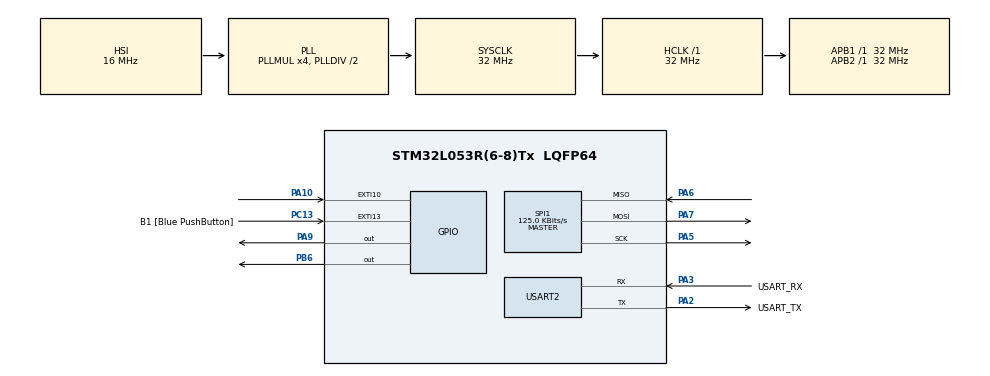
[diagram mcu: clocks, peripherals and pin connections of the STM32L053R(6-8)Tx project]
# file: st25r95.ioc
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Mcu.Family=STM32L0
Mcu.Name=STM32L053R(6-8)Tx
Mcu.Package=LQFP64
NVIC.EXTI4_15_IRQn=true\:0\:0\:false\:false\:true\:true\:true\:true
PA10.GPIO_ModeDefaultEXTI=GPIO_MODE_IT_FALLING
PA10.GPIO_PuPd=GPIO_PULLUP
PA10.Signal=GPXTI10
PA13.GPIO_Label=TMS
PA13.Mode=Serial_Wire
PA13.Signal=SYS_SWDIO
PA14.GPIO_Label=TCK
PA14.Mode=Serial_Wire
PA14.Signal=SYS_SWCLK
PA2.GPIO_Label=USART_TX
PA2.Mode=Asynchronous
PA2.Signal=USART2_TX
PA3.GPIO_Label=USART_RX
PA3.Mode=Asynchronous
PA3.Signal=USART2_RX
PA5.Mode=Full_Duplex_Master
PA5.Signal=SPI1_SCK
PA6.Mode=Full_Duplex_Master
PA6.Signal=SPI1_MISO
PA7.Mode=Full_Duplex_Master
PA7.Signal=SPI1_MOSI
PA9.Signal=GPIO_Output
PB6.Signal=GPIO_Output
PC13.GPIO_Label=B1 [Blue PushButton]
PC13.GPIO_ModeDefaultEXTI=GPIO_MODE_IT_FALLING
PC13.Signal=GPXTI13
PC14-OSC32_IN.Mode=LSE-External-Oscillator
PC14-OSC32_IN.Signal=RCC_OSC32_IN
PC15-OSC32_OUT.Mode=LSE-External-Oscillator
PC15-OSC32_OUT.Signal=RCC_OSC32_OUT
PH0-OSC_IN.Mode=HSE-External-Clock-Source
PH0-OSC_IN.Signal=RCC_OSC_IN
PH1-OSC_OUT.Signal=RCC_OSC_OUT
ProjectManager.HeapSize=0x200
ProjectManager.StackSize=0x400
ProjectManager.TargetToolchain=STM32CubeIDE
RCC.AHBFreq_Value=32000000
RCC.APB1Freq_Value=32000000
RCC.APB1TimFreq_Value=32000000
RCC.APB2Freq_Value=32000000
RCC.APB2TimFreq_Value=32000000
RCC.HCLKFreq_Value=32000000
RCC.HSE_VALUE=8000000
RCC.HSI16_VALUE=16000000
RCC.HSI48_VALUE=48000000
RCC.HSI_VALUE=16000000
RCC.MSI_VALUE=2097000
RCC.PLLMUL=RCC_PLLMUL_4
RCC.SYSCLKFreq_VALUE=32000000
RCC.SYSCLKSource=RCC_SYSCLKSOURCE_PLLCLK
RCC.VCOOutputFreq_Value=64000000
SPI1.BaudRatePrescaler=SPI_BAUDRATEPRESCALER_256
SPI1.CalculateBaudRate=125.0 KBits/s
SPI1.Direction=SPI_DIRECTION_2LINES
SPI1.Mode=SPI_MODE_MASTER
SPI1.VirtualType=VM_MASTER
USART2.VirtualMode-Asynchronous=VM_ASYNC
board=NUCLEO-L053R8

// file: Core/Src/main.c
/* USER CODE BEGIN Header */
/**
  ******************************************************************************
  * @file           : main.c
  * @brief          : Main program body
  ******************************************************************************
  * @attention
  *
  * Copyright (c) 2022 STMicroelectronics.
  * All rights reserved.
  *
  * This software is licensed under terms that can be found in the LICENSE file
  * in the root directory of this software component.
  * If no LICENSE file comes with this software, it is provided AS-IS.
  *
  ******************************************************************************
  */
/* USER CODE END Header */
#include "main.h"
#include "spi.h"
#include "usart.h"
#include "gpio.h"

/* USER CODE BEGIN Includes */
#include "st25r95.h"
#include <stdlib.h>
#include "core_cm0plus.h"
/* USER CODE END Includes */

void SystemClock_Config(void);

/* USER CODE BEGIN 0 */
volatile st25r95_handle reader_handler;

void reader_irq_pulse() {
  HAL_GPIO_WritePin(GPIOA, GPIO_PIN_9, GPIO_PIN_RESET);
  HAL_Delay(1);
  HAL_GPIO_WritePin(GPIOA, GPIO_PIN_9, GPIO_PIN_SET);
  HAL_Delay(8);
}

void reader_nss(uint8_t enable) {
  HAL_GPIO_WritePin(GPIOB, GPIO_PIN_6, enable ? GPIO_PIN_RESET : GPIO_PIN_SET);
}

void reader_tx(uint8_t *data, size_t len) {
  HAL_SPI_Transmit(&hspi1, data, len, HAL_MAX_DELAY);
}

void reader_rx(uint8_t *data, size_t len) {
  HAL_SPI_Receive(&hspi1, data, len, HAL_MAX_DELAY);
}

void HAL_GPIO_EXTI_Callback(uint16_t pin) {
  if (pin == GPIO_PIN_10) {
    reader_handler.irq_flag = 1;
  }
}

void st25_card_callback(uint8_t *uid) {
  HAL_Delay(uid[0]);
}
/* USER CODE END 0 */

int main(void) {

  /* MCU Configuration--------------------------------------------------------*/

  /* Reset of all peripherals, Initializes the Flash interface and the Systick. */
  HAL_Init();

  /* Configure the system clock */
  SystemClock_Config();

  /* Initialize all configured peripherals */
  MX_GPIO_Init();
  MX_USART2_UART_Init();
  MX_SPI1_Init();
  /* USER CODE BEGIN 2 */

  /* Setup all protocol */
  reader_handler.protocol = ST25_PROTOCOL_14443A;
  reader_handler.tx_speed = ST25_26K_106K;
  reader_handler.rx_speed = ST25_26K_106K;
  reader_handler.timerw = 0x58;
  reader_handler.ARC = 0xD1;
  reader_handler.irq_flag = 0;

  /* Bind BSP Functions */
  reader_handler.nss = reader_nss;
  reader_handler.tx = reader_tx;
  reader_handler.rx = reader_rx;
  reader_handler.irq_pulse = reader_irq_pulse;
  reader_handler.callback = st25_card_callback;

  st25r95_init(&reader_handler);
  st25r95_calibrate(&reader_handler);
  /* USER CODE END 2 */

  /* Infinite loop */
  /* USER CODE BEGIN WHILE */

  st25r95_idle(&reader_handler);
  while (1) {
    st25r95_service(&reader_handler);
    /* USER CODE END WHILE */

  }
}

void SystemClock_Config(void) {
  RCC_OscInitTypeDef RCC_OscInitStruct = {0};
  RCC_ClkInitTypeDef RCC_ClkInitStruct = {0};
  RCC_PeriphCLKInitTypeDef PeriphClkInit = {0};

  /** Configure the main internal regulator output voltage
  */
  __HAL_PWR_VOLTAGESCALING_CONFIG(PWR_REGULATOR_VOLTAGE_SCALE1);

  /** Initializes the RCC Oscillators according to the specified parameters
  * in the RCC_OscInitTypeDef structure.
  */
  RCC_OscInitStruct.OscillatorType = RCC_OSCILLATORTYPE_HSI;
  RCC_OscInitStruct.HSIState = RCC_HSI_ON;
  RCC_OscInitStruct.HSICalibrationValue = RCC_HSICALIBRATION_DEFAULT;
  RCC_OscInitStruct.PLL.PLLState = RCC_PLL_ON;
  RCC_OscInitStruct.PLL.PLLSource = RCC_PLLSOURCE_HSI;
  RCC_OscInitStruct.PLL.PLLMUL = RCC_PLLMUL_4;
  RCC_OscInitStruct.PLL.PLLDIV = RCC_PLLDIV_2;
  if (HAL_RCC_OscConfig(&RCC_OscInitStruct) != HAL_OK) {
    Error_Handler();
  }

  /** Initializes the CPU, AHB and APB buses clocks
  */
  RCC_ClkInitStruct.ClockType = RCC_CLOCKTYPE_HCLK | RCC_CLOCKTYPE_SYSCLK
                                | RCC_CLOCKTYPE_PCLK1 | RCC_CLOCKTYPE_PCLK2;
  RCC_ClkInitStruct.SYSCLKSource = RCC_SYSCLKSOURCE_PLLCLK;
  RCC_ClkInitStruct.AHBCLKDivider = RCC_SYSCLK_DIV1;
  RCC_ClkInitStruct.APB1CLKDivider = RCC_HCLK_DIV1;
  RCC_ClkInitStruct.APB2CLKDivider = RCC_HCLK_DIV1;

  if (HAL_RCC_ClockConfig(&RCC_ClkInitStruct, FLASH_LATENCY_1) != HAL_OK) {
    Error_Handler();
  }
  PeriphClkInit.PeriphClockSelection = RCC_PERIPHCLK_USART2;
  PeriphClkInit.Usart2ClockSelection = RCC_USART2CLKSOURCE_PCLK1;
  if (HAL_RCCEx_PeriphCLKConfig(&PeriphClkInit) != HAL_OK) {
    Error_Handler();
  }
}

void Error_Handler(void) {
  __disable_irq();
  while (1) {
  }
}
